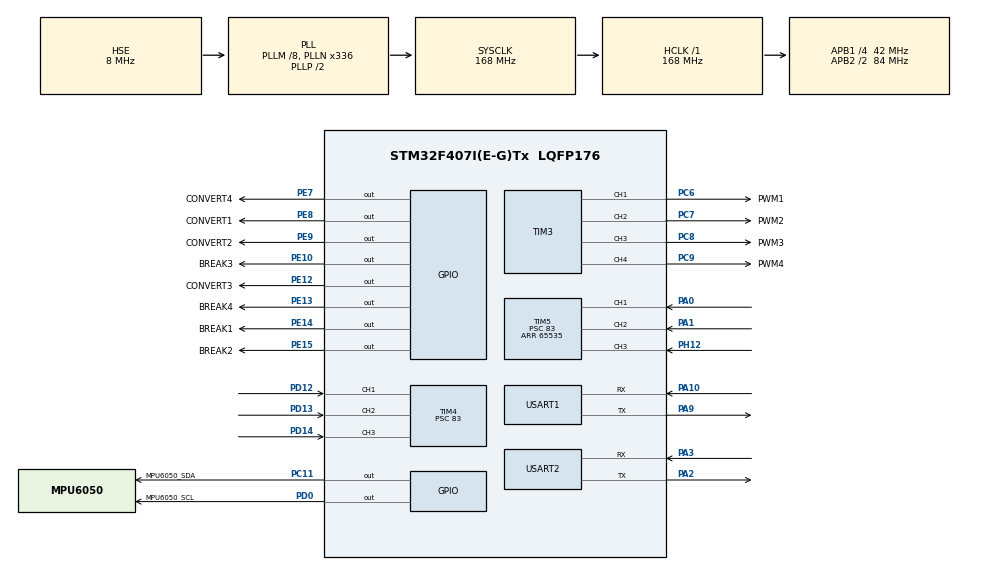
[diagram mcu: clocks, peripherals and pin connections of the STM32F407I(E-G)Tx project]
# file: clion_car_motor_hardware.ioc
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FREERTOS.Tasks01=Task_uart2,0,128,StartTask_uart2,Default,NULL,Dynamic,NULL,NULL;Task_uart1,-3,128,StartTask_uart1,Default,NULL,Dynamic,NULL,NULL;Task_PID,-3,128,StartTask_PID,Default,NULL,Dynamic,NULL,NULL;Task_IMU,-3,128,StartTask_IMU,Default,NULL,Dynamic,NULL,NULL
FREERTOS.configUSE_NEWLIB_REENTRANT=1
Mcu.Family=STM32F4
Mcu.Name=STM32F407I(E-G)Tx
Mcu.Package=LQFP176
NVIC.PriorityGroup=NVIC_PRIORITYGROUP_4
NVIC.TIM4_IRQn=true\:5\:0\:false\:false\:true\:true\:true\:true\:true
NVIC.TIM5_IRQn=true\:5\:0\:false\:false\:true\:true\:true\:true\:true
NVIC.TIM6_DAC_IRQn=true\:15\:0\:false\:false\:true\:false\:false\:true\:true
NVIC.TimeBase=TIM6_DAC_IRQn
NVIC.TimeBaseIP=TIM6
NVIC.USART1_IRQn=true\:5\:0\:false\:false\:true\:true\:true\:true\:true
NVIC.USART2_IRQn=true\:5\:0\:false\:false\:true\:true\:true\:true\:true
PA0-WKUP.Signal=S_TIM5_CH1
PA1.Signal=S_TIM5_CH2
PA10.Mode=Asynchronous
PA10.Signal=USART1_RX
PA13.Mode=Serial_Wire
PA13.Signal=SYS_JTMS-SWDIO
PA14.Mode=Serial_Wire
PA14.Signal=SYS_JTCK-SWCLK
PA2.Mode=Asynchronous
PA2.Signal=USART2_TX
PA3.Mode=Asynchronous
PA3.Signal=USART2_RX
PA9.Mode=Asynchronous
PA9.Signal=USART1_TX
PC11.GPIO_Label=MPU6050_SDA
PC11.Signal=GPIO_Output
PC6.GPIO_Label=PWM1
PC6.Signal=S_TIM3_CH1
PC7.GPIO_Label=PWM2
PC7.Signal=S_TIM3_CH2
PC8.GPIO_Label=PWM3
PC8.Signal=S_TIM3_CH3
PC9.GPIO_Label=PWM4
PC9.Signal=S_TIM3_CH4
PD0.GPIO_Label=MPU6050_SCL
PD0.Signal=GPIO_Output
PD12.Signal=S_TIM4_CH1
PD13.Signal=S_TIM4_CH2
PD14.Signal=S_TIM4_CH3
PE10.GPIO_Label=BREAK3
PE10.Signal=GPIO_Output
PE12.GPIO_Label=CONVERT3
PE12.Signal=GPIO_Output
PE13.GPIO_Label=BREAK4
PE13.Signal=GPIO_Output
PE14.GPIO_Label=BREAK1
PE14.Signal=GPIO_Output
PE15.GPIO_Label=BREAK2
PE15.Signal=GPIO_Output
PE7.GPIO_Label=CONVERT4
PE7.Signal=GPIO_Output
PE8.GPIO_Label=CONVERT1
PE8.Signal=GPIO_Output
PE9.GPIO_Label=CONVERT2
PE9.Signal=GPIO_Output
PH0-OSC_IN.Mode=HSE-External-Oscillator
PH0-OSC_IN.Signal=RCC_OSC_IN
PH1-OSC_OUT.Mode=HSE-External-Oscillator
PH1-OSC_OUT.Signal=RCC_OSC_OUT
PH12.Signal=S_TIM5_CH3
ProjectManager.HeapSize=0x200
ProjectManager.StackSize=0x400
ProjectManager.TargetToolchain=STM32CubeIDE
RCC.48MHZClocksFreq_Value=84000000
RCC.AHBFreq_Value=168000000
RCC.APB1CLKDivider=RCC_HCLK_DIV4
RCC.APB1Freq_Value=42000000
RCC.APB1TimFreq_Value=84000000
RCC.APB2CLKDivider=RCC_HCLK_DIV2
RCC.APB2Freq_Value=84000000
RCC.APB2TimFreq_Value=168000000
RCC.CortexFreq_Value=168000000
RCC.HCLKFreq_Value=168000000
RCC.HSE_VALUE=8000000
RCC.HSI_VALUE=16000000
RCC.LSE_VALUE=32768
RCC.PLLM=8
RCC.PLLN=336
RCC.PLLSourceVirtual=RCC_PLLSOURCE_HSE
RCC.SYSCLKFreq_VALUE=168000000
RCC.SYSCLKSource=RCC_SYSCLKSOURCE_PLLCLK
RCC.VCOOutputFreq_Value=336000000
SH.S_TIM3_CH1.0=TIM3_CH1,PWM Generation1 CH1
SH.S_TIM3_CH2.0=TIM3_CH2,PWM Generation2 CH2
SH.S_TIM3_CH3.0=TIM3_CH3,PWM Generation3 CH3
SH.S_TIM3_CH4.0=TIM3_CH4,PWM Generation4 CH4
SH.S_TIM4_CH1.0=TIM4_CH1,Xored_Inputs_Hall_Sensor_Interface
SH.S_TIM4_CH2.0=TIM4_CH2,Xored_Inputs_Hall_Sensor_Interface
SH.S_TIM4_CH3.0=TIM4_CH3,Xored_Inputs_Hall_Sensor_Interface
SH.S_TIM5_CH1.0=TIM5_CH1,Xored_Inputs_Hall_Sensor_Interface
SH.S_TIM5_CH2.0=TIM5_CH2,Xored_Inputs_Hall_Sensor_Interface
SH.S_TIM5_CH3.0=TIM5_CH3,Xored_Inputs_Hall_Sensor_Interface
TIM3.Channel-PWM\ Generation1\ CH1=TIM_CHANNEL_1
TIM3.Channel-PWM\ Generation2\ CH2=TIM_CHANNEL_2
TIM3.Channel-PWM\ Generation3\ CH3=TIM_CHANNEL_3
TIM3.Channel-PWM\ Generation4\ CH4=TIM_CHANNEL_4
TIM4.Prescaler=83
TIM5.Period=65535
TIM5.Prescaler=83
USART1.VirtualMode=VM_ASYNC
USART2.VirtualMode=VM_ASYNC
VP_FREERTOS_VS_CMSIS_V1.Mode=CMSIS_V1
VP_SYS_VS_tim6.Mode=TIM6
board=custom

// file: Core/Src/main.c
/* USER CODE BEGIN Header */
/**
  ******************************************************************************
  * @file           : main.c
  * @brief          : Main program body
  ******************************************************************************
  * @attention
  *
  * Copyright (c) 2023 STMicroelectronics.
  * All rights reserved.
  *
  * This software is licensed under terms that can be found in the LICENSE file
  * in the root directory of this software component.
  * If no LICENSE file comes with this software, it is provided AS-IS.
  *
  ******************************************************************************
  */
/* USER CODE END Header */
#include "main.h"
#include "cmsis_os.h"
#include "tim.h"
#include "usart.h"
#include "gpio.h"

/* USER CODE BEGIN Includes */
#include "retarget.h"
#include "bsp_bldc.h"
#include "bsp_hall.h"
/* USER CODE END Includes */

void SystemClock_Config(void);
void MX_FREERTOS_Init(void);

int main(void)
{

  /* MCU Configuration--------------------------------------------------------*/

  /* Reset of all peripherals, Initializes the Flash interface and the Systick. */
  HAL_Init();

  /* Configure the system clock */
  SystemClock_Config();

  /* Initialize all configured peripherals */
  MX_GPIO_Init();
  MX_TIM3_Init();
  MX_TIM4_Init();
  MX_TIM5_Init();
  MX_USART1_UART_Init();
  MX_USART2_UART_Init();
  /* USER CODE BEGIN 2 */
#ifdef USE_PRINTF
        RetargetInit(&huart1);
        printf("ROS_Hardware INIT \n");
#endif

//    HALLSensor_TIMx_Init();
    HAL_TIM_PWM_Start(&htim3, TIM_CHANNEL_1);
    HAL_TIM_PWM_Start(&htim3, TIM_CHANNEL_2);
    HAL_TIM_PWM_Start(&htim3, TIM_CHANNEL_3);
    HAL_TIM_PWM_Start(&htim3, TIM_CHANNEL_4);

  /* USER CODE END 2 */

  /* Call init function for freertos objects (in freertos.c) */
  MX_FREERTOS_Init();

  /* Start scheduler */
  osKernelStart();

  /* We should never get here as control is now taken by the scheduler */
  /* Infinite loop */
  while (1)
  {

  }
}

void SystemClock_Config(void)
{
  RCC_OscInitTypeDef RCC_OscInitStruct = {0};
  RCC_ClkInitTypeDef RCC_ClkInitStruct = {0};

  /** Configure the main internal regulator output voltage
  */
  __HAL_RCC_PWR_CLK_ENABLE();
  __HAL_PWR_VOLTAGESCALING_CONFIG(PWR_REGULATOR_VOLTAGE_SCALE1);

  /** Initializes the RCC Oscillators according to the specified parameters
  * in the RCC_OscInitTypeDef structure.
  */
  RCC_OscInitStruct.OscillatorType = RCC_OSCILLATORTYPE_HSE;
  RCC_OscInitStruct.HSEState = RCC_HSE_ON;
  RCC_OscInitStruct.PLL.PLLState = RCC_PLL_ON;
  RCC_OscInitStruct.PLL.PLLSource = RCC_PLLSOURCE_HSE;
  RCC_OscInitStruct.PLL.PLLM = 8;
  RCC_OscInitStruct.PLL.PLLN = 336;
  RCC_OscInitStruct.PLL.PLLP = RCC_PLLP_DIV2;
  RCC_OscInitStruct.PLL.PLLQ = 4;
  if (HAL_RCC_OscConfig(&RCC_OscInitStruct) != HAL_OK)
  {
    Error_Handler();
  }

  /** Initializes the CPU, AHB and APB buses clocks
  */
  RCC_ClkInitStruct.ClockType = RCC_CLOCKTYPE_HCLK|RCC_CLOCKTYPE_SYSCLK
                              |RCC_CLOCKTYPE_PCLK1|RCC_CLOCKTYPE_PCLK2;
  RCC_ClkInitStruct.SYSCLKSource = RCC_SYSCLKSOURCE_PLLCLK;
  RCC_ClkInitStruct.AHBCLKDivider = RCC_SYSCLK_DIV1;
  RCC_ClkInitStruct.APB1CLKDivider = RCC_HCLK_DIV4;
  RCC_ClkInitStruct.APB2CLKDivider = RCC_HCLK_DIV2;

  if (HAL_RCC_ClockConfig(&RCC_ClkInitStruct, FLASH_LATENCY_5) != HAL_OK)
  {
    Error_Handler();
  }
}

void HAL_TIM_PeriodElapsedCallback(TIM_HandleTypeDef *htim)
{
  if (htim->Instance == TIM6) {
    HAL_IncTick();
  }
}

void Error_Handler(void)
{
  __disable_irq();
  while (1)
  {
  }
}

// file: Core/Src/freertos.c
/* USER CODE BEGIN Header */
/**
  ******************************************************************************
  * File Name          : freertos.c
  * Description        : Code for freertos applications
  ******************************************************************************
  * @attention
  *
  * Copyright (c) 2023 STMicroelectronics.
  * All rights reserved.
  *
  * This software is licensed under terms that can be found in the LICENSE file
  * in the root directory of this software component.
  * If no LICENSE file comes with this software, it is provided AS-IS.
  *
  ******************************************************************************
  */
/* USER CODE END Header */

#include "FreeRTOS.h"
#include "task.h"
#include "main.h"
#include "cmsis_os.h"

/* USER CODE BEGIN Includes */
#include "usart.h"
#include "contrl.h"
#include "comminicate.h"
#include "car_task.h"
#include "mpu6050.h"
/* USER CODE END Includes */

osThreadId Task_uart2Handle;
osThreadId Task_uart1Handle;
osThreadId Task_PIDHandle;
osThreadId Task_IMUHandle;

void StartTask_uart2(void const * argument);
void StartTask_uart1(void const * argument);
void StartTask_PID(void const * argument);
void StartTask_IMU(void const * argument);

void MX_FREERTOS_Init(void); /* (MISRA C 2004 rule 8.1) */

/* GetIdleTaskMemory prototype (linked to static allocation support) */
void vApplicationGetIdleTaskMemory( StaticTask_t **ppxIdleTaskTCBBuffer, StackType_t **ppxIdleTaskStackBuffer, uint32_t *pulIdleTaskStackSize );

/* USER CODE BEGIN GET_IDLE_TASK_MEMORY */
static StaticTask_t xIdleTaskTCBBuffer;
static StackType_t xIdleStack[configMINIMAL_STACK_SIZE];

void vApplicationGetIdleTaskMemory( StaticTask_t **ppxIdleTaskTCBBuffer, StackType_t **ppxIdleTaskStackBuffer, uint32_t *pulIdleTaskStackSize )
{
  *ppxIdleTaskTCBBuffer = &xIdleTaskTCBBuffer;
  *ppxIdleTaskStackBuffer = &xIdleStack[0];
  *pulIdleTaskStackSize = configMINIMAL_STACK_SIZE;
  /* place for user code */
}
/* USER CODE END GET_IDLE_TASK_MEMORY */

void MX_FREERTOS_Init(void) {

  /* Create the thread(s) */
  /* definition and creation of Task_uart2 */
  osThreadDef(Task_uart2, StartTask_uart2, osPriorityNormal, 0, 128);
  Task_uart2Handle = osThreadCreate(osThread(Task_uart2), NULL);

  /* definition and creation of Task_uart1 */
  osThreadDef(Task_uart1, StartTask_uart1, osPriorityIdle, 0, 128);
  Task_uart1Handle = osThreadCreate(osThread(Task_uart1), NULL);

  /* definition and creation of Task_PID */
  osThreadDef(Task_PID, StartTask_PID, osPriorityIdle, 0, 128);
  Task_PIDHandle = osThreadCreate(osThread(Task_PID), NULL);

  /* definition and creation of Task_IMU */
  osThreadDef(Task_IMU, StartTask_IMU, osPriorityIdle, 0, 128);
  Task_IMUHandle = osThreadCreate(osThread(Task_IMU), NULL);

}

void StartTask_uart2(void const * argument)
{
  /* USER CODE BEGIN StartTask_uart2 */
  /* Infinite loop */
  for(;;)
  {
#ifdef DEBUG_StartTask_uart2
          HAL_UART_Transmit(&huart1,(uint8_t *) "GPS TASK\n", 9, 100);
#endif
    osDelay(1000);
  }
  /* USER CODE END StartTask_uart2 */
}

void StartTask_uart1(void const * argument)
{
  /* USER CODE BEGIN StartTask_uart1 */

  /* Infinite loop */
  for(;;)
  {

#ifdef DEBUG_StartTask_uart1
          HAL_UART_Transmit(&huart1,(uint8_t *) "UART SEND\n", 10, 100);
#endif

    SendTo_UbuntuPC();
    osDelay(100);
  }
  /* USER CODE END StartTask_uart1 */
}

void StartTask_PID(void const * argument)
{
  /* USER CODE BEGIN StartTask_PID */
  int flag=1;
  /* Infinite loop */
  for(;;)
  {
      Car_Task_100HZ();

      osDelay(100);
  }
  /* USER CODE END StartTask_PID */
}

void StartTask_IMU(void const * argument)
{
  /* USER CODE BEGIN StartTask_IMU */
  /* Infinite loop */

    MPU_Init();
    while(mpu_dmp_init());
#ifdef New_method
    IMU imu;
    imu.init();

#endif

  for(;;)
  {
#ifdef DEBUG_StartTask_IMU
          HAL_UART_Transmit(&huart1,(uint8_t *) "IMU TASK\n", 9, 100);
#endif

    Car_Task_200HZ();
    osDelay(100);
  }
  /* USER CODE END StartTask_IMU */
}
